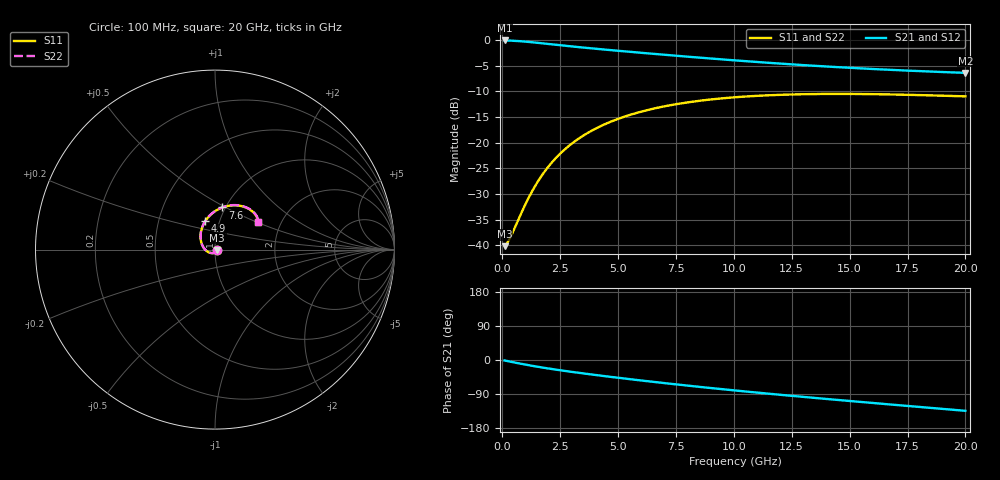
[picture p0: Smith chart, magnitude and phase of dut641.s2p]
! Touchstone file exported from HFSS 2024.1.0
!  File:  C:/UserFiles/LocalFiles/RDL_TSV_Batchsim/temp_RDL_TSV_641_1779806618.aedt
!  Generated:  10:56:53 PM May 26, 2026
!  Design:  RDL_TSV
!  Project:  temp_RDL_TSV_641_1779806618
!  Setup:  Setup1
!  Solution:  Sweep
! Variables:
!  dtsv = 13.12um
!  hbump = 3um
!  htsv = 65.06um
!  ldown = 307.61um
!  lrdl = 180.86um
!  p = 40
!  p1 = 43.35um
!  rhole = 10um
!  subl = 1646.27um
!  t = 450um
!  tdown = 4.82um
!  trdl = 3.94um
!  viad = 10um
!  wdown = 19.41um
!  wrdl = 11.68um
!  xbump = 18um
# GHz S MA R 50.000000
! Terminal data exported
! Port[1] = TM1_1_T1
! Port[2] = TM1_4_T1
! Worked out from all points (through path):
!   200 points, 100 MHz to 20 GHz, reference 50 ohm
!   highest |S21| = -0.09 dB at 100 MHz (marker M1); lowest = -6.4 dB at 20 GHz (marker M2)
!   group delay of S21, straight-line fit = 17.6 ps
!   lowest |S11| = -40.2 dB at 100 MHz (marker M3), VSWR 1.02, Z = 50.9 - j0.28 ohm
!   |S11| at or under -10 dB: start of sweep to end of sweep
!   |S22| runs from -40.2 to -10.5 dB; largest |S21 - S12| = 1.7e-14
!   S11 on the Smith chart (normalised r, x): 100 MHz: 1.02, -0.01; 4.9 GHz: 0.85, +0.28; 7.6 GHz: 0.97, +0.48; 20 GHz: 1.52, +0.51
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0.1  0.009783 -16.3  0.99 -1.3  0.99 -1.3  0.009782 -16.3
! Gamma 0 0 0 0
! Port Impedance 50 0 50 0
0.2  0.01041 -32.5  0.989 -2.6  0.989 -2.6  0.0104 -32.5
0.4  0.01261 -62.8  0.9852 -5.1  0.9852 -5.1  0.01261 -62.8
0.9  0.0225 -119.1  0.9686 -11.0  0.9686 -11.0  0.0225 -119.2
1.2  0.03084 -142.3  0.9552 -14.4  0.9552 -14.4  0.03087 -142.4
1.5  0.04054 -160.5  0.9405 -17.6  0.9405 -17.6  0.0406 -160.7
1.8  0.05119 -175.4  0.9251 -20.6  0.9251 -20.6  0.0513 -175.5
2.2  0.06634 168.6  0.9046 -24.4  0.9046 -24.4  0.06651 168.5
2.6  0.08201 155.5  0.8848 -27.9  0.8848 -27.9  0.08224 155.4
3  0.09776 144.6  0.8659 -31.3  0.8659 -31.3  0.09805 144.5
3.5  0.1171 133.1  0.8438 -35.4  0.8438 -35.4  0.1175 133.1
4.2  0.143 119.9  0.8153 -40.9  0.8153 -40.9  0.1435 119.9
4.9  0.167 109.1  0.7888 -46.1  0.7888 -46.1  0.1676 109.1
5.8  0.1946 97.7  0.7572 -52.7  0.7572 -52.7  0.1954 97.7
6.8  0.2209 87.1  0.7244 -59.6  0.7244 -59.6  0.2218 87.1
7.6  0.2387 79.9  0.6998 -65.0  0.6998 -65.0  0.2397 79.9
8.8  0.2602 70.7  0.6654 -72.7  0.6654 -72.7  0.2613 70.8
10.1  0.2772 62.4  0.6317 -80.7  0.6317 -80.7  0.2785 62.5
11.7  0.2905 54.0  0.5952 -90.1  0.5952 -90.1  0.2919 54.1
13.4  0.2972 46.9  0.5621 -99.6  0.5621 -99.6  0.2987 47.0
16.7  0.295 37.5  0.5126 -117.1  0.5126 -117.1  0.2966 37.6
20  0.2824 32.9  0.4785 -134.1  0.4785 -134.1  0.2841 33.0
